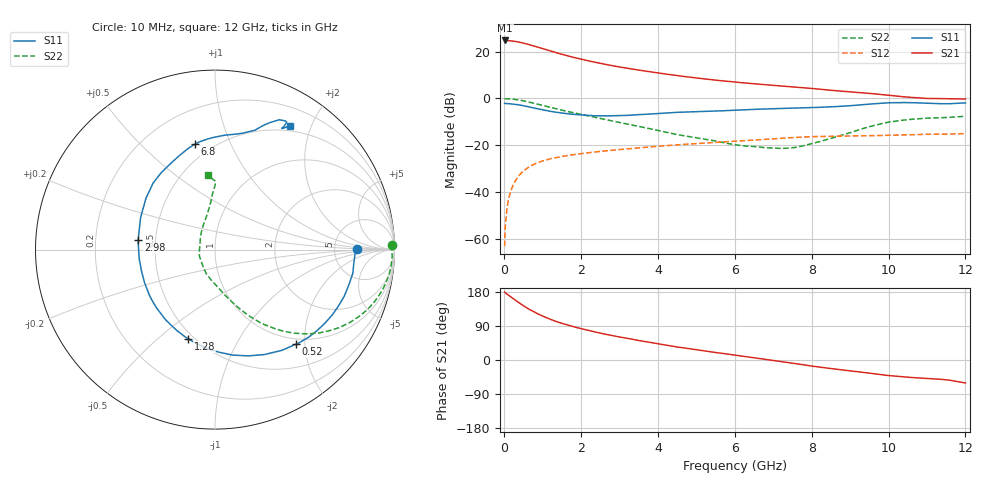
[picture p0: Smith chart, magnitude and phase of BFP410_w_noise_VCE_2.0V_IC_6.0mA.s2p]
! Infineon Technologies  Discrete & RF Semiconductors
! BFP410
! VCE =  2.0 V,  IC =  6.0 mA
! Common Emitter S-Parameters:  Nov 2015
# GHz  S  MA  R  50
!  f  S11  S21  S12  S22
! GHz  MAG  ANG  MAG  ANG  MAG  ANG  MAG  ANG
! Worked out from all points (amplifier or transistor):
!   243 points, 10 MHz to 12 GHz, reference 50 ohm
!   highest |S21| = 24.8 dB at 20 MHz (marker M1)
!   |S21| within 3 dB of that: start of sweep to 905 MHz
!   unconditionally stable (mu >= 1): 2.881 GHz to end of sweep
!   at 240 MHz: K = 0.11, MSG = 30.6 dB, |S12| = -36.7 dB
!   at 1.84 GHz: K = 0.70, MSG = 20.7 dB, |S12| = -23.9 dB
!   at 12 GHz: K = 1.06, MAG = 5.9 dB, |S12| = -15.0 dB
!   lowest NFmin = 1.06 dB at 900 MHz
!   S11 on the Smith chart (normalised r, x): 10 MHz: 8.47, +0.19; 520 MHz: 0.89, -1.82; 1.28 GHz: 0.47, -0.64; 2.98 GHz: 0.40, +0.05; 6.8 GHz: 0.41, +0.74; 12 GHz: 0.43, +1.69
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0.01  0.7888 0.3  17.29 179.2  0.0007 89.6  0.9855 1.5
0.02  0.7815 -1.4  17.35 178.2  0.0014 90.7  0.9842 -0.4
0.065  0.7773 -6.2  17.21 174.4  0.004 86.6  0.9873 -3.1
0.15  0.7713 -14.8  17.09 168.2  0.0092 82.8  0.9807 -7.7
0.3  0.7477 -29.2  16.49 157.0  0.018 75.9  0.9505 -15.3
0.4  0.7256 -38.6  15.91 149.9  0.0233 71.7  0.9222 -20.0
0.52  0.6935 -49.5  15.09 142.0  0.0292 67.1  0.8816 -25.2
0.7  0.6462 -64.8  13.79 131.0  0.0367 61.0  0.8165 -32.2
0.82  0.6146 -74.2  12.87 124.5  0.0409 57.5  0.7723 -36.1
1  0.572 -87.8  11.62 115.8  0.0464 53.2  0.7075 -41.5
1.28  0.5196 -106.6  9.914 104.3  0.0533 47.8  0.62 -48.1
1.62  0.4754 -126.3  8.271 93.0  0.0599 43.4  0.5333 -54.2
2.02  0.4434 -146.2  6.843 82.2  0.0667 39.6  0.4551 -59.8
2.4  0.4268 -163.8  5.845 73.1  0.0726 36.5  0.3906 -64.6
2.98  0.4308 173.1  4.738 61.1  0.0808 32.6  0.3098 -71.7
4.1  0.4835 141.2  3.419 41.1  0.0967 26.0  0.1994 -88.2
5  0.5233 124.8  2.735 26.9  0.1088 20.3  0.1446 -109.1
6.1  0.5651 109.3  2.204 11.5  0.1233 13.5  0.1001 -140.5
6.8  0.5975 100.6  1.967 1.7  0.1342 8.8  0.0889 -168.2
8.2  0.6471 82.0  1.578 -18.5  0.1539 -4.0  0.1196 130.2
10.2  0.8125 62.4  1.128 -42.7  0.165 -18.4  0.3291 91.4
12  0.8047 58.9  0.975 -60.6  0.1775 -32.8  0.4165 95.1
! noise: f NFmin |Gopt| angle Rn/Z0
0.45  1.09  0.2  1  0.22
0.9  1.06  0.19  15  0.18
1.8  1.21  0.13  52  0.16
2.4  1.21  0.11  50  0.19
5.5  2.12  0.32  -125  0.21
10  3.36  0.67  -51  1.79
